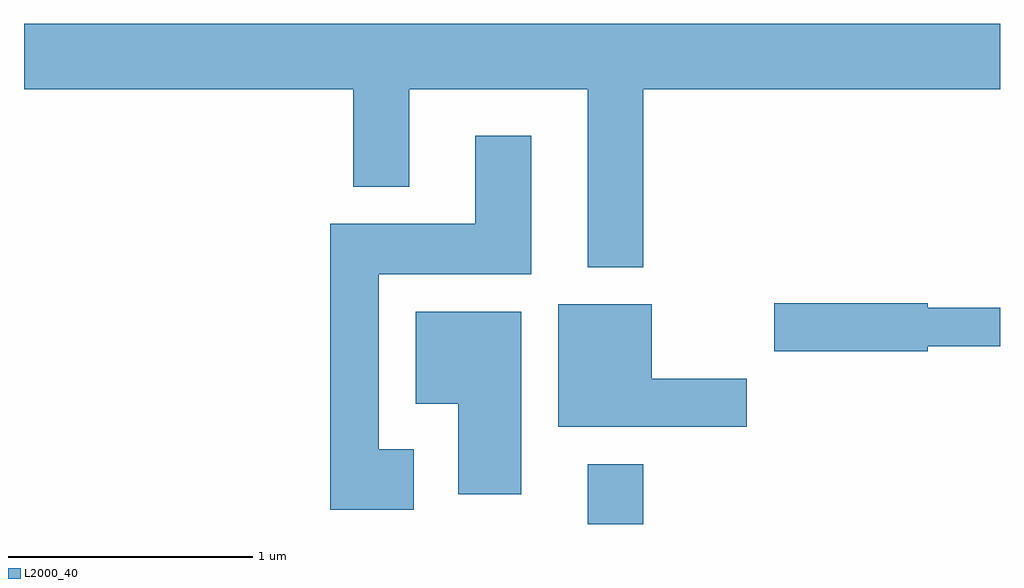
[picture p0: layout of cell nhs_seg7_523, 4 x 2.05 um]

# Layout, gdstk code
import gdstk
lib = gdstk.Library(unit=1e-6, precision=1e-09)
def R(c, l, rs):  # rectangles x0, y0, x1, y1
    for r in rs: c.add(gdstk.rectangle(r[:2], r[2:], *l))
def P(c, l, *ps):  # polygons
    for p in ps: c.add(gdstk.Polygon(p, *l))
L2000_40 = (2000, 40)

nhs_seg7_523 = lib.new_cell('nhs_seg7_523')
R(nhs_seg7_523, L2000_40, [(201.921,1770.252,202.149,1770.499)])
P(nhs_seg7_523, L2000_40, [(202.149,1772.036),(203.611,1772.036),(203.611,1772.304),(199.611,1772.304),(199.611,1772.036),(200.961,1772.036),(200.961,1771.636),(201.189,1771.636),(201.189,1772.036),(201.921,1772.036),(201.921,1771.306),(202.149,1771.306)],
  [(201.209,1770.559),(201.064,1770.559),(201.064,1771.276),(201.689,1771.276),(201.689,1771.844),(201.461,1771.844),(201.461,1771.484),(200.866,1771.484),(200.866,1770.311),(201.209,1770.311)],
  [(203.314,1770.981),(203.611,1770.981),(203.611,1771.139),(203.314,1771.139),(203.314,1771.159),(202.686,1771.159),(202.686,1770.961),(203.314,1770.961)],
  [(202.574,1770.849),(202.184,1770.849),(202.184,1771.154),(201.801,1771.154),(201.801,1770.651),(202.574,1770.651)],
  [(201.649,1771.124),(201.216,1771.124),(201.216,1770.746),(201.391,1770.746),(201.391,1770.376),(201.649,1770.376)])

lib.write_gds('nhs_seg7_523.gds')
